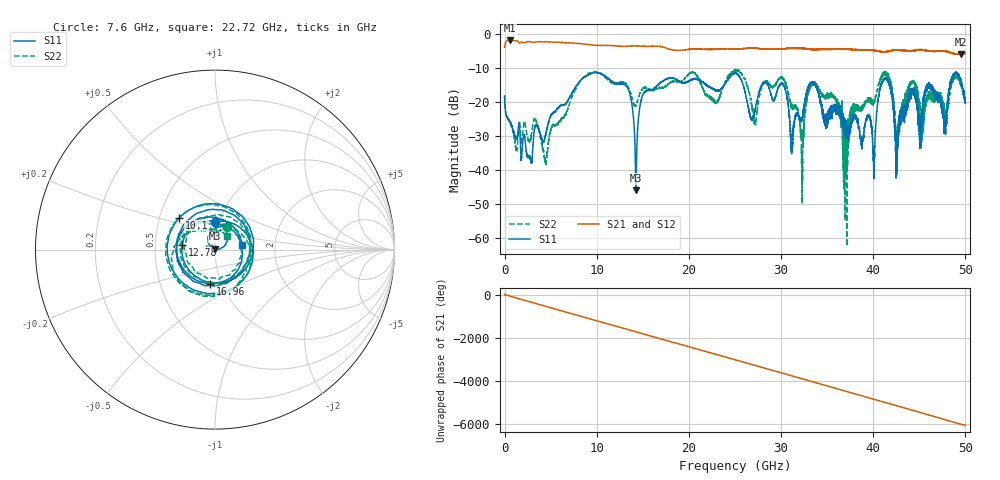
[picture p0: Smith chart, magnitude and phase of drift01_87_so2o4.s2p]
!Created with skrf (http://scikit-rf.org).
# Hz S RI R 50.0
!freq ReS11 ImS11 ReS21 ImS21 ReS12 ImS12 ReS22 ImS22
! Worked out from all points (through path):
!   10001 points, 300 kHz to 50 GHz, reference 50 ohm
!   highest |S21| = -2.00 dB at 625.3 MHz (marker M1); lowest = -6.0 dB at 49.52 GHz (marker M2)
!   group delay of S21, straight-line fit = 336 ps
!   lowest |S11| = -46.0 dB at 14.25 GHz (marker M3), VSWR 1.01, Z = 50.1 + j0.495 ohm
!   |S11| at or under -10 dB: start of sweep to end of sweep
!   |S22| runs from -62.5 to -10.6 dB; largest |S21 - S12| = 0.022
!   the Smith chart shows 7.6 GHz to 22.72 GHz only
!   S11 on the Smith chart (normalised r, x): 7.6 GHz: 0.95, +0.30; 10.1 GHz: 0.63, +0.24; 12.78 GHz: 0.69, +0.04; 16.96 GHz: 0.88, -0.35; 22.72 GHz: 1.35, +0.07
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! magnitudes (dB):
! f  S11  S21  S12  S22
! 300 kHz  -18.4  -4.0  -4.1  -18.0
! 625.3 MHz  -26.1  -2.0  -2.0  -26.2
! 4.435 GHz  -30.0  -2.4  -2.4  -37.5
! 7.6 GHz  -16.1  -2.8  -2.8  -16.8
! 8.335 GHz  -13.5  -3.0  -3.0  -13.5
! 10.1 GHz  -11.5  -3.5  -3.5  -11.3
! 12.78 GHz  -14.7  -3.7  -3.7  -14.3
! 14.25 GHz  -46.0  -3.6  -3.6  -21.1
! 16.67 GHz  -14.9  -3.7  -3.7  -15.8
! 16.96 GHz  -14.3  -3.8  -3.8  -15.7
! 22.72 GHz  -16.3  -4.6  -4.6  -19.8
! 25 GHz  -11.6  -4.5  -4.5  -10.9
! 27.17 GHz  -22.5  -4.3  -4.3  -25.9
! 30.2 GHz  -14.9  -4.5  -4.5  -13.3
! 32.27 GHz  -25.3  -4.3  -4.3  -45.7
! 33.34 GHz  -14.3  -4.6  -4.6  -15.0
! 36.99 GHz  -26.9  -4.5  -4.6  -33.1
! 40.06 GHz  -39.7  -4.9  -5.0  -20.1
! 41.67 GHz  -14.0  -5.1  -5.1  -12.9
! 42.56 GHz  -35.2  -4.8  -4.8  -30.7
! 49.52 GHz  -14.1  -6.0  -6.0  -14.6
! 50 GHz  -20.4  -5.8  -5.7  -19.1
